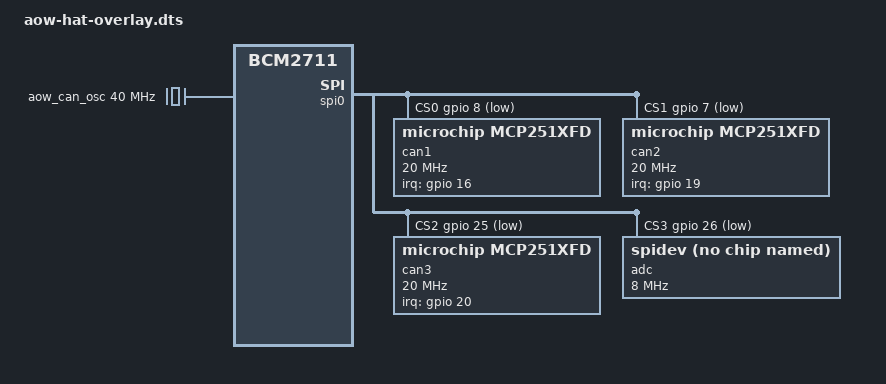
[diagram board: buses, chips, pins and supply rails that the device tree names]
// SPDX-License-Identifier: MIT
// Copyright (c) 2026 The AgOpenWeb-HAT contributors
//
// AOW HAT device tree overlay: SPI0 with four chip selects (three MCP251863 CAN FD controllers
// and the ADC128S102 as spidev), and the fixed 40 MHz CAN clock. Pin numbers follow
// hardware/hat/HARDWARE_HAT_DESIGN.md section 7 and boards/hat/hat_pins.h.
//
// Build:   dtc -@ -I dts -O dtb -o aow-hat.dtbo aow-hat-overlay.dts
// Install: /boot/firmware/overlays/aow-hat.dtbo, then "dtoverlay=aow-hat" in config.txt.
// The UARTs and the PWM pin use the stock overlays (uart2, uart3, uart5, pwm); see deploy/.
/dts-v1/;
/plugin/;

/ {
	compatible = "brcm,bcm2711";

	// The base tree's spidev@0 and spidev@1 would claim CE0 and CE1.
	fragment@0 {
		target = <&spidev0>;
		__overlay__ { status = "disabled"; };
	};
	fragment@1 {
		target = <&spidev1>;
		__overlay__ { status = "disabled"; };
	};

	// Chip selects: GPIO8 CAN1 (CE0), GPIO7 CAN2 (CE1), GPIO25 CAN3, GPIO26 ADC. All outputs.
	fragment@2 {
		target = <&spi0_cs_pins>;
		__overlay__ {
			brcm,pins = <8 7 25 26>;
			brcm,function = <1>;
		};
	};

	// Interrupt inputs: GPIO16 CAN1, GPIO19 CAN2, GPIO20 CAN3.
	fragment@3 {
		target = <&gpio>;
		__overlay__ {
			aow_can_int_pins: aow_can_int_pins {
				brcm,pins = <16 19 20>;
				brcm,function = <0>;
			};
		};
	};

	// One 40 MHz oscillator (X1) feeds all three controllers.
	fragment@4 {
		target-path = "/clocks";
		__overlay__ {
			aow_can_osc: aow-can-osc {
				#clock-cells = <0>;
				compatible = "fixed-clock";
				clock-frequency = <40000000>;
			};
		};
	};

	fragment@5 {
		target = <&spi0>;
		__overlay__ {
			status = "okay";
			#address-cells = <1>;
			#size-cells = <0>;
			cs-gpios = <&gpio 8 1>, <&gpio 7 1>, <&gpio 25 1>, <&gpio 26 1>;

			can1: mcp251xfd@0 {
				compatible = "microchip,mcp251xfd";
				reg = <0>;
				pinctrl-names = "default";
				pinctrl-0 = <&aow_can_int_pins>;
				spi-max-frequency = <20000000>;
				interrupt-parent = <&gpio>;
				interrupts = <16 8>;   // IRQ_TYPE_LEVEL_LOW
				clocks = <&aow_can_osc>;
			};
			can2: mcp251xfd@1 {
				compatible = "microchip,mcp251xfd";
				reg = <1>;
				spi-max-frequency = <20000000>;
				interrupt-parent = <&gpio>;
				interrupts = <19 8>;
				clocks = <&aow_can_osc>;
			};
			can3: mcp251xfd@2 {
				compatible = "microchip,mcp251xfd";
				reg = <2>;
				spi-max-frequency = <20000000>;
				interrupt-parent = <&gpio>;
				interrupts = <20 8>;
				clocks = <&aow_can_osc>;
			};
			// ADC128S102: read from the daemon through /dev/spidev0.3 (no IIO driver in
			// the Pi kernel). 16-bit frames, mode 3 or 0, up to 16 MHz.
			adc: spidev@3 {
				compatible = "spidev";
				reg = <3>;
				spi-max-frequency = <8000000>;
			};
		};
	};
};
